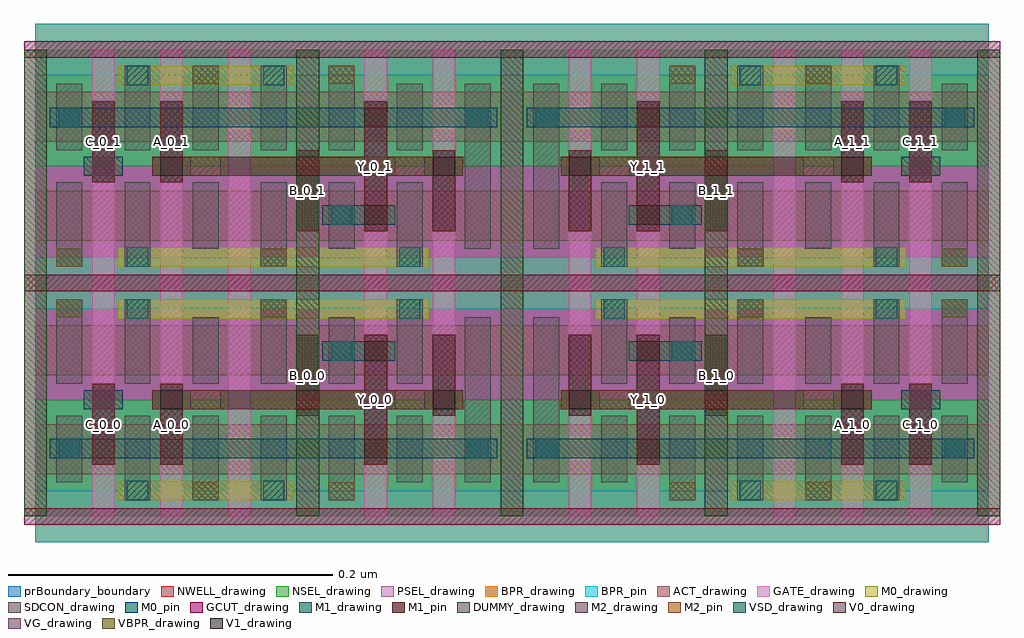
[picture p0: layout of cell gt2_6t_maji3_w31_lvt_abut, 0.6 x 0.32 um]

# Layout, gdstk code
from math import pi, radians
import gdstk
lib = gdstk.Library(unit=1e-6, precision=5e-10)
def R(c, l, rs):  # rectangles x0, y0, x1, y1
    for r in rs: c.add(gdstk.rectangle(r[:2], r[2:], *l))
def A(c, l, x, y, w, h, nx, ny, dx, dy):  # array of equal rectangles
    R(c, l, [(x+i*dx, y+j*dy, x+i*dx+w, y+j*dy+h) for i in range(nx) for j in range(ny)])
NWELL_drawing = (1, 0)
ACT_drawing = (2, 0)
GATE_drawing = (3, 0)
DUMMY_drawing = (4, 0)
GCUT_drawing = (5, 0)
NSEL_drawing = (6, 0)
PSEL_drawing = (7, 0)
BPR_drawing = (8, 0)
BPR_pin = (8, 251)
VBPR_drawing = (9, 0)
SDCON_drawing = (10, 0)
VSD_drawing = (11, 0)
VG_drawing = (12, 0)
M0_drawing = (20, 0)
M0_pin = (20, 251)
V0_drawing = (22, 0)
M1_drawing = (25, 0)
M1_pin = (25, 251)
V1_drawing = (27, 0)
M2_drawing = (30, 0)
M2_pin = (30, 251)
prBoundary_boundary = (235, 250)

gt2_6t_maji3_w31_lvt = lib.new_cell('gt2_6t_maji3_w31_lvt')
R(gt2_6t_maji3_w31_lvt, NWELL_drawing, [(0,0.072,0.294,0.144)])
R(gt2_6t_maji3_w31_lvt, ACT_drawing, [(0,0.026,0.294,0.057), (0,0.087,0.294,0.118)])
A(gt2_6t_maji3_w31_lvt, GATE_drawing, -0.007, 0, 0.014, 0.144, 8, 1, 0.042, 0)
R(gt2_6t_maji3_w31_lvt, DUMMY_drawing, [(-0.007,0,0.007,0.072), (0.161,0,0.175,0.072), (0.287,0,0.301,0.072), (-0.007,0.072,0.007,0.144), (0.161,0.072,0.175,0.144), (0.287,0.072,0.301,0.144)])
R(gt2_6t_maji3_w31_lvt, GCUT_drawing, [(-0.007,-0.005,0.301,0.005), (-0.007,0.139,0.301,0.149)])
R(gt2_6t_maji3_w31_lvt, NSEL_drawing, [(0,0,0.294,0.072)])
R(gt2_6t_maji3_w31_lvt, PSEL_drawing, [(0,0.072,0.294,0.144)])
R(gt2_6t_maji3_w31_lvt, BPR_drawing, [(0,-0.016,0.294,0.016), (0,0.128,0.294,0.16)])
R(gt2_6t_maji3_w31_lvt, BPR_pin, [(0,-0.016,0.294,0.016), (0,0.128,0.294,0.16)])
R(gt2_6t_maji3_w31_lvt, VBPR_drawing, [(0.097,0.01,0.113,0.021), (0.181,0.01,0.197,0.021), (0.013,0.123,0.029,0.134), (0.139,0.123,0.155,0.134)])
A(gt2_6t_maji3_w31_lvt, SDCON_drawing, 0.055, 0.01, 0.016, 0.052, 4, 1, 0.042, 0)
A(gt2_6t_maji3_w31_lvt, SDCON_drawing, 0.055, 0.082, 0.016, 0.052, 3, 1, 0.084, 0)
R(gt2_6t_maji3_w31_lvt, SDCON_drawing, [(0.013,0.021,0.029,0.062), (0.223,0.021,0.239,0.062), (0.265,0.021,0.281,0.123), (0.013,0.082,0.029,0.134), (0.097,0.082,0.113,0.123), (0.181,0.082,0.197,0.123)])
R(gt2_6t_maji3_w31_lvt, VSD_drawing, [(0.0565,0.01,0.0695,0.022), (0.1405,0.01,0.1535,0.022), (0.0145,0.036,0.0275,0.048), (0.2665,0.036,0.2795,0.048), (0.1825,0.096,0.1955,0.108), (0.0565,0.122,0.0695,0.134), (0.2245,0.122,0.2375,0.134)])
A(gt2_6t_maji3_w31_lvt, VG_drawing, 0.035, 0.066, 0.014, 0.012, 3, 1, 0.042, 0)
R(gt2_6t_maji3_w31_lvt, VG_drawing, [(0.203,0.066,0.217,0.078), (0.245,0.066,0.259,0.078)])
A(gt2_6t_maji3_w31_lvt, M0_drawing, 0.072, 0.066, 0.024, 0.012, 5, 1, 0.042, 0)
R(gt2_6t_maji3_w31_lvt, M0_drawing, [(0.051,0.01,0.075,0.022), (0.051,0.01,0.159,0.022), (0.135,0.01,0.159,0.022), (0.009,0.036,0.033,0.048), (0.009,0.036,0.285,0.048), (0.198,0.036,0.222,0.048), (0.261,0.036,0.285,0.048), (0.03,0.066,0.054,0.078), (0.03,0.066,0.054,0.078), (0.072,0.066,0.096,0.078), (0.114,0.066,0.222,0.078), (0.24,0.066,0.264,0.078), (0.177,0.096,0.201,0.108), (0.177,0.096,0.222,0.108), (0.198,0.096,0.222,0.108), (0.051,0.122,0.075,0.134), (0.051,0.122,0.243,0.134), (0.219,0.122,0.243,0.134)])
A(gt2_6t_maji3_w31_lvt, M0_pin, 0.072, 0.066, 0.024, 0.012, 5, 1, 0.042, 0)
R(gt2_6t_maji3_w31_lvt, M0_pin, [(0.009,0.036,0.033,0.048), (0.009,0.036,0.285,0.048), (0.198,0.036,0.222,0.048), (0.261,0.036,0.285,0.048), (0.03,0.066,0.054,0.078), (0.03,0.066,0.054,0.078), (0.072,0.066,0.096,0.078), (0.114,0.066,0.222,0.078), (0.24,0.066,0.264,0.078), (0.177,0.096,0.201,0.108), (0.177,0.096,0.222,0.108), (0.198,0.096,0.222,0.108)])
A(gt2_6t_maji3_w31_lvt, V0_drawing, 0.077, 0.066, 0.014, 0.012, 3, 1, 0.084, 0)
R(gt2_6t_maji3_w31_lvt, V0_drawing, [(0.203,0.036,0.217,0.048), (0.035,0.066,0.049,0.078), (0.203,0.096,0.217,0.108)])
A(gt2_6t_maji3_w31_lvt, M1_drawing, 0.077, 0.062, 0.014, 0.02, 3, 1, 0.084, 0)
R(gt2_6t_maji3_w31_lvt, M1_drawing, [(0.035,0.032,0.049,0.082), (0.077,0.032,0.091,0.082), (0.203,0.032,0.217,0.052), (0.203,0.032,0.217,0.112), (0.035,0.062,0.049,0.082), (0.077,0.062,0.091,0.082), (0.161,0.062,0.175,0.112), (0.245,0.062,0.259,0.082), (0.245,0.062,0.259,0.112), (0.203,0.092,0.217,0.112)])
A(gt2_6t_maji3_w31_lvt, M1_pin, 0.077, 0.062, 0.014, 0.02, 3, 1, 0.084, 0)
R(gt2_6t_maji3_w31_lvt, M1_pin, [(0.035,0.032,0.049,0.082), (0.077,0.032,0.091,0.082), (0.203,0.032,0.217,0.052), (0.203,0.032,0.217,0.112), (0.035,0.062,0.049,0.082), (0.077,0.062,0.091,0.082), (0.161,0.062,0.175,0.112), (0.245,0.062,0.259,0.082), (0.245,0.062,0.259,0.112), (0.203,0.092,0.217,0.112)])
R(gt2_6t_maji3_w31_lvt, V1_drawing, [(0.077,0.066,0.091,0.078), (0.245,0.066,0.259,0.078)])
R(gt2_6t_maji3_w31_lvt, M2_drawing, [(0.072,0.066,0.096,0.078), (0.072,0.066,0.264,0.078), (0.24,0.066,0.264,0.078)])
R(gt2_6t_maji3_w31_lvt, M2_pin, [(0.072,0.066,0.096,0.078), (0.072,0.066,0.264,0.078), (0.24,0.066,0.264,0.078)])
R(gt2_6t_maji3_w31_lvt, prBoundary_boundary, [(0,0,0.294,0.144)])
gt2_6t_maji3_w31_lvt.add(gdstk.Label('vss', (0.147,0), layer=8, texttype=251))
gt2_6t_maji3_w31_lvt.add(gdstk.Label('vdd', (0.147,0.144), layer=8, texttype=251))
gt2_6t_maji3_w31_lvt.add(gdstk.Label('Y', (0.021,0.042), layer=20, texttype=251))
gt2_6t_maji3_w31_lvt.add(gdstk.Label('Y', (0.273,0.042), layer=20, texttype=251))
gt2_6t_maji3_w31_lvt.add(gdstk.Label('C', (0.042,0.072), layer=20, texttype=251))
gt2_6t_maji3_w31_lvt.add(gdstk.Label('A', (0.084,0.072), layer=20, texttype=251))
gt2_6t_maji3_w31_lvt.add(gdstk.Label('B', (0.126,0.072), layer=20, texttype=251))
gt2_6t_maji3_w31_lvt.add(gdstk.Label('B', (0.21,0.072), layer=20, texttype=251))
gt2_6t_maji3_w31_lvt.add(gdstk.Label('A', (0.252,0.072), layer=20, texttype=251))
gt2_6t_maji3_w31_lvt.add(gdstk.Label('Y', (0.189,0.102), layer=20, texttype=251))
gt2_6t_maji3_w31_lvt.add(gdstk.Label('Y', (0.147,0.042), layer=20, texttype=251))
gt2_6t_maji3_w31_lvt.add(gdstk.Label('Y', (0.21,0.042), layer=20, texttype=251))
gt2_6t_maji3_w31_lvt.add(gdstk.Label('C', (0.042,0.072), layer=20, texttype=251))
gt2_6t_maji3_w31_lvt.add(gdstk.Label('A', (0.084,0.072), layer=20, texttype=251))
gt2_6t_maji3_w31_lvt.add(gdstk.Label('B', (0.168,0.072), layer=20, texttype=251))
gt2_6t_maji3_w31_lvt.add(gdstk.Label('B', (0.168,0.072), layer=20, texttype=251))
gt2_6t_maji3_w31_lvt.add(gdstk.Label('A', (0.252,0.072), layer=20, texttype=251))
gt2_6t_maji3_w31_lvt.add(gdstk.Label('Y', (0.1995,0.102), layer=20, texttype=251))
gt2_6t_maji3_w31_lvt.add(gdstk.Label('Y', (0.21,0.102), layer=20, texttype=251))
gt2_6t_maji3_w31_lvt.add(gdstk.Label('Y', (0.21,0.042), layer=25, texttype=251))
gt2_6t_maji3_w31_lvt.add(gdstk.Label('C', (0.042,0.072), layer=25, texttype=251))
gt2_6t_maji3_w31_lvt.add(gdstk.Label('A', (0.084,0.072), layer=25, texttype=251))
gt2_6t_maji3_w31_lvt.add(gdstk.Label('B', (0.168,0.072), layer=25, texttype=251))
gt2_6t_maji3_w31_lvt.add(gdstk.Label('A', (0.252,0.072), layer=25, texttype=251))
gt2_6t_maji3_w31_lvt.add(gdstk.Label('Y', (0.21,0.102), layer=25, texttype=251))
gt2_6t_maji3_w31_lvt.add(gdstk.Label('C', (0.042,0.057), layer=25, texttype=251))
gt2_6t_maji3_w31_lvt.add(gdstk.Label('A', (0.084,0.057), layer=25, texttype=251))
gt2_6t_maji3_w31_lvt.add(gdstk.Label('Y', (0.21,0.072), layer=25, texttype=251))
gt2_6t_maji3_w31_lvt.add(gdstk.Label('A', (0.084,0.072), layer=25, texttype=251))
gt2_6t_maji3_w31_lvt.add(gdstk.Label('B', (0.168,0.087), layer=25, texttype=251))
gt2_6t_maji3_w31_lvt.add(gdstk.Label('A', (0.252,0.087), layer=25, texttype=251))
gt2_6t_maji3_w31_lvt.add(gdstk.Label('A', (0.252,0.072), layer=25, texttype=251))
gt2_6t_maji3_w31_lvt.add(gdstk.Label('A', (0.084,0.072), layer=30, texttype=251))
gt2_6t_maji3_w31_lvt.add(gdstk.Label('A', (0.252,0.072), layer=30, texttype=251))
gt2_6t_maji3_w31_lvt.add(gdstk.Label('A', (0.168,0.072), layer=30, texttype=251))

gt2_6t_maji3_w31_lvt_abu = lib.new_cell('gt2_6t_maji3_w31_lvt_abut')
gt2_6t_maji3_w31_lvt_abu.add(gdstk.Reference(gt2_6t_maji3_w31_lvt, (0,0)))
gt2_6t_maji3_w31_lvt_abu.add(gdstk.Reference(gt2_6t_maji3_w31_lvt, (0.588,0), rotation=pi, x_reflection=True))
gt2_6t_maji3_w31_lvt_abu.add(gdstk.Reference(gt2_6t_maji3_w31_lvt, (0,0.288), x_reflection=True))
gt2_6t_maji3_w31_lvt_abu.add(gdstk.Reference(gt2_6t_maji3_w31_lvt, (0.588,0.288), rotation=pi))
gt2_6t_maji3_w31_lvt_abu.add(gdstk.Label('A_0_0', (0.084,0.057), layer=25, texttype=251))
gt2_6t_maji3_w31_lvt_abu.add(gdstk.Label('B_0_0', (0.168,0.087), layer=25, texttype=251))
gt2_6t_maji3_w31_lvt_abu.add(gdstk.Label('C_0_0', (0.042,0.057), layer=25, texttype=251))
gt2_6t_maji3_w31_lvt_abu.add(gdstk.Label('Y_0_0', (0.21,0.072), layer=25, texttype=251))
gt2_6t_maji3_w31_lvt_abu.add(gdstk.Label('A_1_0', (0.504,0.057), layer=25, texttype=251))
gt2_6t_maji3_w31_lvt_abu.add(gdstk.Label('B_1_0', (0.42,0.087), layer=25, texttype=251))
gt2_6t_maji3_w31_lvt_abu.add(gdstk.Label('C_1_0', (0.546,0.057), layer=25, texttype=251))
gt2_6t_maji3_w31_lvt_abu.add(gdstk.Label('Y_1_0', (0.378,0.072), layer=25, texttype=251))
gt2_6t_maji3_w31_lvt_abu.add(gdstk.Label('A_0_1', (0.084,0.231), layer=25, texttype=251))
gt2_6t_maji3_w31_lvt_abu.add(gdstk.Label('B_0_1', (0.168,0.201), layer=25, texttype=251))
gt2_6t_maji3_w31_lvt_abu.add(gdstk.Label('C_0_1', (0.042,0.231), layer=25, texttype=251))
gt2_6t_maji3_w31_lvt_abu.add(gdstk.Label('Y_0_1', (0.21,0.216), layer=25, texttype=251))
gt2_6t_maji3_w31_lvt_abu.add(gdstk.Label('A_1_1', (0.504,0.231), layer=25, texttype=251))
gt2_6t_maji3_w31_lvt_abu.add(gdstk.Label('B_1_1', (0.42,0.201), layer=25, texttype=251))
gt2_6t_maji3_w31_lvt_abu.add(gdstk.Label('C_1_1', (0.546,0.231), layer=25, texttype=251))
gt2_6t_maji3_w31_lvt_abu.add(gdstk.Label('Y_1_1', (0.378,0.216), layer=25, texttype=251))

lib.write_gds('gt2_6t_maji3_w31_lvt_abut.gds')
